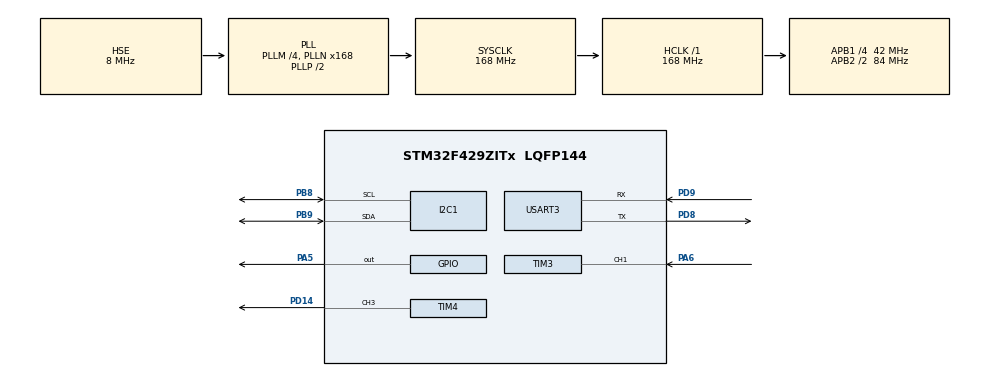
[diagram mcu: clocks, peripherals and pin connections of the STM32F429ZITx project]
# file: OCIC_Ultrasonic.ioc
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Mcu.Family=STM32F4
Mcu.Name=STM32F429ZITx
Mcu.Package=LQFP144
NVIC.PriorityGroup=NVIC_PRIORITYGROUP_4
NVIC.TIM3_IRQn=true\:0\:0\:false\:true\:true\:1\:true\:true\:true
PA5.Signal=GPIO_Output
PA6.Signal=S_TIM3_CH1
PB8.Mode=I2C
PB8.Signal=I2C1_SCL
PB9.Mode=I2C
PB9.Signal=I2C1_SDA
PC14/OSC32_IN.Mode=LSE-External-Oscillator
PC14/OSC32_IN.Signal=RCC_OSC32_IN
PC15/OSC32_OUT.Mode=LSE-External-Oscillator
PC15/OSC32_OUT.Signal=RCC_OSC32_OUT
PD14.Signal=S_TIM4_CH3
PD8.Mode=Asynchronous
PD8.Signal=USART3_TX
PD9.Mode=Asynchronous
PD9.Signal=USART3_RX
PH0/OSC_IN.Mode=HSE-External-Clock-Source
PH0/OSC_IN.Signal=RCC_OSC_IN
PH1/OSC_OUT.Mode=HSE-External-Clock-Source
PH1/OSC_OUT.Signal=RCC_OSC_OUT
ProjectManager.HeapSize=0x200
ProjectManager.StackSize=0x400
ProjectManager.TargetToolchain=STM32CubeIDE
RCC.48MHZClocksFreq_Value=84000000
RCC.AHBFreq_Value=168000000
RCC.APB1CLKDivider=RCC_HCLK_DIV4
RCC.APB1Freq_Value=42000000
RCC.APB1TimFreq_Value=84000000
RCC.APB2CLKDivider=RCC_HCLK_DIV2
RCC.APB2Freq_Value=84000000
RCC.APB2TimFreq_Value=168000000
RCC.CortexFreq_Value=168000000
RCC.HCLKFreq_Value=168000000
RCC.HSE_VALUE=8000000
RCC.HSI_VALUE=16000000
RCC.PLLM=4
RCC.PLLN=168
RCC.PLLSourceVirtual=RCC_PLLSOURCE_HSE
RCC.SYSCLKFreq_VALUE=168000000
RCC.SYSCLKSource=RCC_SYSCLKSOURCE_PLLCLK
RCC.VCOOutputFreq_Value=336000000
SH.S_TIM3_CH1.0=TIM3_CH1,Input_Capture1_from_TI1
SH.S_TIM4_CH3.0=TIM4_CH3,PWM Generation3 CH3
TIM3.Channel-Input_Capture1_from_TI1=TIM_CHANNEL_1
TIM3.Period=0xffff-1
TIM3.Prescaler=84-1
TIM4.Channel-PWM\ Generation3\ CH3=TIM_CHANNEL_3
TIM4.Period=168-1
TIM4.Pulse-PWM\ Generation3\ CH3=84-1
USART3.VirtualMode=VM_ASYNC
VP_TIM3_VS_ClockSourceINT.Mode=Internal
board=custom

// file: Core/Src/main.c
/* USER CODE BEGIN Header */
/**
  ******************************************************************************
  * @file           : main.c
  * @brief          : Main program body
  ******************************************************************************
  * @attention
  *
  * Copyright (c) 2023 STMicroelectronics.
  * All rights reserved.
  *
  * This software is licensed under terms that can be found in the LICENSE file
  * in the root directory of this software component.
  * If no LICENSE file comes with this software, it is provided AS-IS.
  *
  ******************************************************************************
  */
/* USER CODE END Header */
#include "main.h"

/* USER CODE BEGIN PD */
#define TRIG_PIN GPIO_PIN_5
#define TRIG_PORT GPIOA
#define LCD_ADDR (0x27 << 1)
UART_HandleTypeDef huart3;
/* USER CODE END PD */

/* USER CODE BEGIN PM */
#ifdef __GNUC__
  /* With GCC, small printf (option LD Linker->Libraries->Small printf
     set to 'Yes') calls __io_putchar() */
  #define PUTCHAR_PROTOTYPE int __io_putchar(int ch)
#else
  #define PUTCHAR_PROTOTYPE int fputc(int ch, FILE *f)
#endif /* __GNUC__ */
PUTCHAR_PROTOTYPE
{
  /* Place your implementation of fputc here */
  /* e.g. write a character to the EVAL_COM1 and Loop until the end of transmission */
  HAL_UART_Transmit(&huart3, (uint8_t *)&ch, 1, 0xFFFF);

  return ch;
}
/* USER CODE END PM */

I2C_HandleTypeDef hi2c1; //LCD
TIM_HandleTypeDef htim3; //Ultrasonic Input capture Timer
TIM_HandleTypeDef htim4; //Buzzer PWM Timer

UART_HandleTypeDef huart3;

/* USER CODE BEGIN PV */
uint32_t IC_Val1 = 0;
uint32_t IC_Val2 = 0;
uint32_t Difference = 0;
uint8_t Is_First_Captured = 0;  // is the first value captured ?
uint8_t Distance  = 0;

typedef enum {
	N = 0,
    C = 956,
    D = 852,
    E = 758,
    F = 716,
    G = 638,
    A = 568,
    B = 506,
    C6 = 478
}_NOTE;
_NOTE note;
char code;
/* USER CODE END PV */

void SystemClock_Config(void);
static void MX_GPIO_Init(void);
static void MX_TIM3_Init(void);
static void MX_USART3_UART_Init(void);
static void MX_TIM4_Init(void);
static void MX_I2C1_Init(void);
static void MX_NVIC_Init(void);
/* USER CODE BEGIN PFP */
void delay (uint16_t time)
{
	__HAL_TIM_SET_COUNTER(&htim3, 0);
	while (__HAL_TIM_GET_COUNTER (&htim3) < time);
}

void HAL_TIM_IC_CaptureCallback(TIM_HandleTypeDef *htim)
{
	if (htim->Channel == HAL_TIM_ACTIVE_CHANNEL_1)  // if the interrupt source is channel1
	{
		if (Is_First_Captured==0) // if the first value is not captured
		{
			IC_Val1 = HAL_TIM_ReadCapturedValue(htim, TIM_CHANNEL_1); // read the first value
			Is_First_Captured = 1;  // set the first captured as true
			// Now change the polarity to falling edge
			__HAL_TIM_SET_CAPTUREPOLARITY(htim, TIM_CHANNEL_1, TIM_INPUTCHANNELPOLARITY_FALLING);
		}

		else if (Is_First_Captured==1)   // if the first is already captured
		{
			IC_Val2 = HAL_TIM_ReadCapturedValue(htim, TIM_CHANNEL_1);  // read second value
			__HAL_TIM_SET_COUNTER(htim, 0);  // reset the counter

			if (IC_Val2 > IC_Val1)
			{
				Difference = IC_Val2-IC_Val1;
			}

			else if (IC_Val1 > IC_Val2)
			{
				Difference = (0xffff - IC_Val1) + IC_Val2;
			}

			Distance = Difference * .034/2 - 1;
			Is_First_Captured = 0; // set it back to false

			// set polarity to rising edge
			__HAL_TIM_SET_CAPTUREPOLARITY(htim, TIM_CHANNEL_1, TIM_INPUTCHANNELPOLARITY_RISING);
			__HAL_TIM_DISABLE_IT(&htim3, TIM_IT_CC1);
		}
	}
}

void HCSR04_Read (void)
{
	HAL_GPIO_WritePin(TRIG_PORT, TRIG_PIN, GPIO_PIN_SET);  // pull the TRIG pin HIGH
	delay(10);  // wait for 10 us
	HAL_GPIO_WritePin(TRIG_PORT, TRIG_PIN, GPIO_PIN_RESET);  // pull the TRIG pin low

	__HAL_TIM_ENABLE_IT(&htim3, TIM_IT_CC1);
}

/* USER CODE END PFP */

/* USER CODE BEGIN 0 */
_NOTE distanceToScale(uint8_t Distance){
	if(Distance==3){
		code = 'C';
		return C;
	}else if(Distance==4){
		code = 'D';
		return D;
	}else if(Distance==5){
		code = 'E';
		return E;
	}else if(Distance==6){
		code = 'F';
		return F;
	}else if(Distance==7){
		code = 'G';
		return G;
	}else if(Distance==8){
		code = 'A';
		return A;
	}else if(Distance==9){
		code = 'B';
		return B;
	}else if(Distance==10){
		code = 'C';
		return C6;
	}else{
		code = ' ';
		return N;
	}

}

void piano(_NOTE scale){
	HAL_TIM_PWM_Start(&htim4, TIM_CHANNEL_3);
	TIM4->PSC = scale;
	HAL_Delay(300);
	HAL_TIM_PWM_Stop(&htim4, TIM_CHANNEL_3);
}

char complete[] = "HOMEWORK COMPLETE!   ";
//문자를 밀어주는 함수
void slideLine(char line[])
{
	int i;
	char start = line[0];
	for(i = 0; i < 21; i++)
	{
		if(i == 20)
		{
			line[i] = start;
			break;
		}
		line[i] = line[i + 1];
	}
}
/* USER CODE END 0 */

int main(void)
{

  /* MCU Configuration--------------------------------------------------------*/

  /* Reset of all peripherals, Initializes the Flash interface and the Systick. */
  HAL_Init();

  /* Configure the system clock */
  SystemClock_Config();

  /* Initialize all configured peripherals */
  MX_GPIO_Init();
  MX_TIM3_Init();
  MX_USART3_UART_Init();
  MX_TIM4_Init();
  MX_I2C1_Init();

  /* Initialize interrupts */
  MX_NVIC_Init();
  /* USER CODE BEGIN 2 */
  HAL_TIM_IC_Start_IT(&htim3, TIM_CHANNEL_1);
  HAL_TIM_PWM_Start(&htim4, TIM_CHANNEL_3);
  LCD_Init(LCD_ADDR);
  init();
  char String[30];
  /* USER CODE END 2 */

  /* Infinite loop */
  /* USER CODE BEGIN WHILE */
  while (1)
  {
	  HCSR04_Read();
	  note = distanceToScale(Distance);
	  piano(note);
	  printf("%d cm, Piano: %c\r\n",Distance, code);
	  sprintf(String, "%03d cm, Piano: %c\r\n",Distance, code);
	  LCD_SendCommand(LCD_ADDR, 0b10000000); //0x00
	  LCD_SendString((0x27 << 1), String);
	  slideLine(complete);
	  LCD_SendCommand((0x27 << 1), 0b11000000); //0x00
	  LCD_SendString((0x27 << 1), complete);
//	  HAL_Delay(200);
    /* USER CODE END WHILE */

  }
}

void SystemClock_Config(void)
{
  RCC_OscInitTypeDef RCC_OscInitStruct = {0};
  RCC_ClkInitTypeDef RCC_ClkInitStruct = {0};

  /** Configure the main internal regulator output voltage
  */
  __HAL_RCC_PWR_CLK_ENABLE();
  __HAL_PWR_VOLTAGESCALING_CONFIG(PWR_REGULATOR_VOLTAGE_SCALE1);

  /** Initializes the RCC Oscillators according to the specified parameters
  * in the RCC_OscInitTypeDef structure.
  */
  RCC_OscInitStruct.OscillatorType = RCC_OSCILLATORTYPE_HSE;
  RCC_OscInitStruct.HSEState = RCC_HSE_BYPASS;
  RCC_OscInitStruct.PLL.PLLState = RCC_PLL_ON;
  RCC_OscInitStruct.PLL.PLLSource = RCC_PLLSOURCE_HSE;
  RCC_OscInitStruct.PLL.PLLM = 4;
  RCC_OscInitStruct.PLL.PLLN = 168;
  RCC_OscInitStruct.PLL.PLLP = RCC_PLLP_DIV2;
  RCC_OscInitStruct.PLL.PLLQ = 4;
  if (HAL_RCC_OscConfig(&RCC_OscInitStruct) != HAL_OK)
  {
    Error_Handler();
  }

  /** Initializes the CPU, AHB and APB buses clocks
  */
  RCC_ClkInitStruct.ClockType = RCC_CLOCKTYPE_HCLK|RCC_CLOCKTYPE_SYSCLK
                              |RCC_CLOCKTYPE_PCLK1|RCC_CLOCKTYPE_PCLK2;
  RCC_ClkInitStruct.SYSCLKSource = RCC_SYSCLKSOURCE_PLLCLK;
  RCC_ClkInitStruct.AHBCLKDivider = RCC_SYSCLK_DIV1;
  RCC_ClkInitStruct.APB1CLKDivider = RCC_HCLK_DIV4;
  RCC_ClkInitStruct.APB2CLKDivider = RCC_HCLK_DIV2;

  if (HAL_RCC_ClockConfig(&RCC_ClkInitStruct, FLASH_LATENCY_5) != HAL_OK)
  {
    Error_Handler();
  }
}

/**
  * @brief NVIC Configuration.
  * @retval None
  */
static void MX_NVIC_Init(void)
{
  /* TIM3_IRQn interrupt configuration */
  HAL_NVIC_SetPriority(TIM3_IRQn, 0, 0);
  HAL_NVIC_EnableIRQ(TIM3_IRQn);
}

static void MX_I2C1_Init(void)
{

  hi2c1.Instance = I2C1;
  hi2c1.Init.ClockSpeed = 100000;
  hi2c1.Init.DutyCycle = I2C_DUTYCYCLE_2;
  hi2c1.Init.OwnAddress1 = 0;
  hi2c1.Init.AddressingMode = I2C_ADDRESSINGMODE_7BIT;
  hi2c1.Init.DualAddressMode = I2C_DUALADDRESS_DISABLE;
  hi2c1.Init.OwnAddress2 = 0;
  hi2c1.Init.GeneralCallMode = I2C_GENERALCALL_DISABLE;
  hi2c1.Init.NoStretchMode = I2C_NOSTRETCH_DISABLE;
  if (HAL_I2C_Init(&hi2c1) != HAL_OK)
  {
    Error_Handler();
  }

  /** Configure Analogue filter
  */
  if (HAL_I2CEx_ConfigAnalogFilter(&hi2c1, I2C_ANALOGFILTER_ENABLE) != HAL_OK)
  {
    Error_Handler();
  }

  /** Configure Digital filter
  */
  if (HAL_I2CEx_ConfigDigitalFilter(&hi2c1, 0) != HAL_OK)
  {
    Error_Handler();
  }

}

static void MX_TIM3_Init(void)
{

  TIM_ClockConfigTypeDef sClockSourceConfig = {0};
  TIM_MasterConfigTypeDef sMasterConfig = {0};
  TIM_IC_InitTypeDef sConfigIC = {0};

  htim3.Instance = TIM3;
  htim3.Init.Prescaler = 84-1;
  htim3.Init.CounterMode = TIM_COUNTERMODE_UP;
  htim3.Init.Period = 0xffff-1;
  htim3.Init.ClockDivision = TIM_CLOCKDIVISION_DIV1;
  htim3.Init.AutoReloadPreload = TIM_AUTORELOAD_PRELOAD_DISABLE;
  if (HAL_TIM_Base_Init(&htim3) != HAL_OK)
  {
    Error_Handler();
  }
  sClockSourceConfig.ClockSource = TIM_CLOCKSOURCE_INTERNAL;
  if (HAL_TIM_ConfigClockSource(&htim3, &sClockSourceConfig) != HAL_OK)
  {
    Error_Handler();
  }
  if (HAL_TIM_IC_Init(&htim3) != HAL_OK)
  {
    Error_Handler();
  }
  sMasterConfig.MasterOutputTrigger = TIM_TRGO_RESET;
  sMasterConfig.MasterSlaveMode = TIM_MASTERSLAVEMODE_DISABLE;
  if (HAL_TIMEx_MasterConfigSynchronization(&htim3, &sMasterConfig) != HAL_OK)
  {
    Error_Handler();
  }
  sConfigIC.ICPolarity = TIM_INPUTCHANNELPOLARITY_RISING;
  sConfigIC.ICSelection = TIM_ICSELECTION_DIRECTTI;
  sConfigIC.ICPrescaler = TIM_ICPSC_DIV1;
  sConfigIC.ICFilter = 0;
  if (HAL_TIM_IC_ConfigChannel(&htim3, &sConfigIC, TIM_CHANNEL_1) != HAL_OK)
  {
    Error_Handler();
  }

}

static void MX_TIM4_Init(void)
{

  TIM_MasterConfigTypeDef sMasterConfig = {0};
  TIM_OC_InitTypeDef sConfigOC = {0};

  htim4.Instance = TIM4;
  htim4.Init.Prescaler = 0;
  htim4.Init.CounterMode = TIM_COUNTERMODE_UP;
  htim4.Init.Period = 168-1;
  htim4.Init.ClockDivision = TIM_CLOCKDIVISION_DIV1;
  htim4.Init.AutoReloadPreload = TIM_AUTORELOAD_PRELOAD_DISABLE;
  if (HAL_TIM_PWM_Init(&htim4) != HAL_OK)
  {
    Error_Handler();
  }
  sMasterConfig.MasterOutputTrigger = TIM_TRGO_RESET;
  sMasterConfig.MasterSlaveMode = TIM_MASTERSLAVEMODE_DISABLE;
  if (HAL_TIMEx_MasterConfigSynchronization(&htim4, &sMasterConfig) != HAL_OK)
  {
    Error_Handler();
  }
  sConfigOC.OCMode = TIM_OCMODE_PWM1;
  sConfigOC.Pulse = 84-1;
  sConfigOC.OCPolarity = TIM_OCPOLARITY_HIGH;
  sConfigOC.OCFastMode = TIM_OCFAST_DISABLE;
  if (HAL_TIM_PWM_ConfigChannel(&htim4, &sConfigOC, TIM_CHANNEL_3) != HAL_OK)
  {
    Error_Handler();
  }
  HAL_TIM_MspPostInit(&htim4);

}

static void MX_USART3_UART_Init(void)
{

  huart3.Instance = USART3;
  huart3.Init.BaudRate = 115200;
  huart3.Init.WordLength = UART_WORDLENGTH_8B;
  huart3.Init.StopBits = UART_STOPBITS_1;
  huart3.Init.Parity = UART_PARITY_NONE;
  huart3.Init.Mode = UART_MODE_TX_RX;
  huart3.Init.HwFlowCtl = UART_HWCONTROL_NONE;
  huart3.Init.OverSampling = UART_OVERSAMPLING_16;
  if (HAL_UART_Init(&huart3) != HAL_OK)
  {
    Error_Handler();
  }

}

static void MX_GPIO_Init(void)
{
  GPIO_InitTypeDef GPIO_InitStruct = {0};

  /* GPIO Ports Clock Enable */
  __HAL_RCC_GPIOC_CLK_ENABLE();
  __HAL_RCC_GPIOH_CLK_ENABLE();
  __HAL_RCC_GPIOA_CLK_ENABLE();
  __HAL_RCC_GPIOD_CLK_ENABLE();
  __HAL_RCC_GPIOB_CLK_ENABLE();

  /*Configure GPIO pin Output Level */
  HAL_GPIO_WritePin(GPIOA, GPIO_PIN_5, GPIO_PIN_RESET);

  /*Configure GPIO pin : PA5 */
  GPIO_InitStruct.Pin = GPIO_PIN_5;
  GPIO_InitStruct.Mode = GPIO_MODE_OUTPUT_PP;
  GPIO_InitStruct.Pull = GPIO_NOPULL;
  GPIO_InitStruct.Speed = GPIO_SPEED_FREQ_LOW;
  HAL_GPIO_Init(GPIOA, &GPIO_InitStruct);

}

void Error_Handler(void)
{
  __disable_irq();
  while (1)
  {
  }
}
